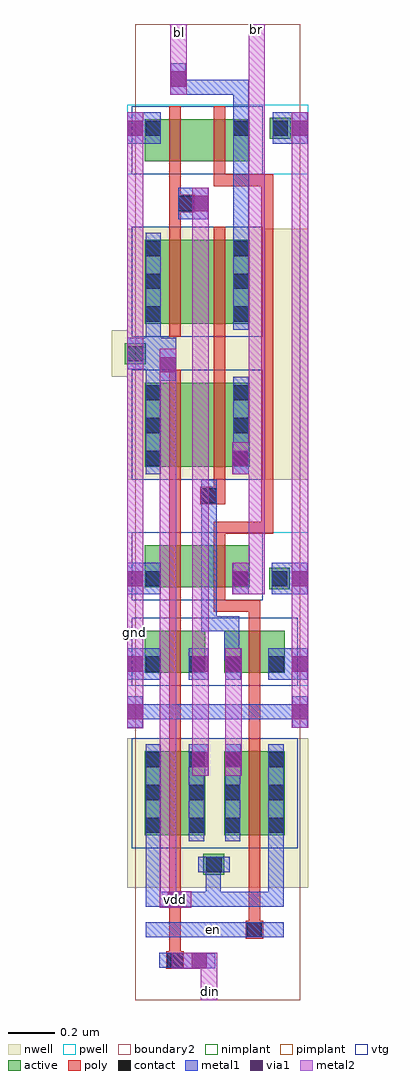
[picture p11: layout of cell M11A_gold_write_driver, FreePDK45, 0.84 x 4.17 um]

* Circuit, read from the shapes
.subckt M11A_gold_write_driver bl br din en gnd vdd
M1 n1 din gnd gnd nfet w=0.18u l=0.05u
M2 n2 din gnd gnd nfet w=0.18u l=0.05u
M3 n3 n1 gnd gnd nfet w=0.18u l=0.05u
M4 br en n2 gnd nfet w=0.18u l=0.05u
M5 bl en n3 gnd nfet w=0.18u l=0.05u
M6 gnd en n4 gnd nfet w=0.18u l=0.05u
M7 n1 din vdd vdd pfet w=0.36u l=0.05u
M8 n5 din vdd vdd pfet w=0.36u l=0.05u
M9 n6 n1 vdd vdd pfet w=0.36u l=0.05u
M10 br n4 n5 vdd pfet w=0.36u l=0.05u
M11 bl n4 n6 vdd pfet w=0.36u l=0.05u
M12 vdd en n4 vdd pfet w=0.36u l=0.05u
.ends

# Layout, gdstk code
import gdstk
lib = gdstk.Library(unit=1e-6, precision=1e-09)
def R(c, l, rs):  # rectangles x0, y0, x1, y1
    for r in rs: c.add(gdstk.rectangle(r[:2], r[2:], *l))
def A(c, l, x, y, w, h, nx, ny, dx, dy):  # array of equal rectangles
    R(c, l, [(x+i*dx, y+j*dy, x+i*dx+w, y+j*dy+h) for i in range(nx) for j in range(ny)])
active = (1, 0)
pwell = (2, 0)
nwell = (3, 0)
nimplant = (4, 0)
pimplant = (5, 0)
vtg = (6, 0)
poly = (9, 0)
contact = (10, 0)
metal1 = (11, 0)
via1 = (12, 0)
metal2 = (13, 0)
boundary2 = (239, 0)

m11a_gold_write_driver = lib.new_cell('M11A_gold_write_driver')
R(m11a_gold_write_driver, active, [(0.292,0.535,0.382,0.625), (0.04,0.705,0.115,1.065), (0.04,0.705,0.115,1.065), (0.04,0.705,0.3,1.065), (0.225,0.705,0.3,1.065), (0.225,0.705,0.3,1.065), (0.38,0.705,0.455,1.065), (0.38,0.705,0.455,1.065), (0.38,0.705,0.64,1.065), (0.565,0.705,0.64,1.065), (0.565,0.705,0.64,1.065), (0.04,0.71,0.115,1.065), (0.225,0.71,0.3,1.065), (0.38,0.71,0.455,1.065), (0.565,0.71,0.64,1.065), (0.04,1.4,0.115,1.58), (0.04,1.4,0.115,1.58), (0.04,1.4,0.3,1.58), (0.04,1.4,0.115,1.475), (0.225,1.4,0.3,1.58), (0.225,1.4,0.3,1.58), (0.225,1.4,0.3,1.475), (0.38,1.4,0.455,1.58), (0.38,1.4,0.455,1.58), (0.38,1.4,0.64,1.58), (0.38,1.4,0.455,1.475), (0.565,1.4,0.64,1.58), (0.565,1.4,0.64,1.58), (0.565,1.4,0.64,1.475), (0.573,1.757,0.662,1.848), (0.04,1.765,0.115,1.945), (0.04,1.765,0.115,1.945), (0.04,1.765,0.115,1.84), (0.04,1.765,0.49,1.945), (0.198,1.765,0.338,1.945), (0.415,1.765,0.49,1.945), (0.415,1.765,0.49,1.945), (0.415,1.765,0.49,1.84), (0.04,2.28,0.115,2.64), (0.04,2.28,0.115,2.64), (0.04,2.28,0.115,2.635), (0.04,2.28,0.49,2.64), (0.198,2.28,0.338,2.64), (0.415,2.28,0.49,2.64), (0.415,2.28,0.49,2.64), (0.415,2.28,0.49,2.635), (-0.045,2.72,0.045,2.81), (0.04,2.892,0.115,3.252), (0.04,2.892,0.115,3.252), (0.04,2.892,0.49,3.252), (0.192,2.892,0.333,3.252), (0.415,2.892,0.49,3.252), (0.415,2.892,0.49,3.252), (0.04,2.897,0.115,3.252), (0.415,2.897,0.49,3.252), (0.04,3.587,0.115,3.767), (0.04,3.587,0.115,3.767), (0.04,3.587,0.49,3.767), (0.192,3.587,0.333,3.767), (0.415,3.587,0.49,3.767), (0.415,3.587,0.49,3.767), (0.575,3.685,0.665,3.775), (0.04,3.692,0.115,3.767), (0.415,3.692,0.49,3.767)])
R(m11a_gold_write_driver, pwell, [(-0.035,1.345,0.74,2), (-0.015,1.345,0.355,1.635), (0.325,1.345,0.695,1.635), (0.517,1.703,0.718,1.902), (-0.015,1.71,0.545,2), (-0.035,3.533,0.74,3.83), (-0.015,3.533,0.545,3.823), (0.52,3.63,0.72,3.83)])
R(m11a_gold_write_driver, nwell, [(-0.035,0.48,0.74,1.12), (0.238,0.48,0.437,0.68), (-0.015,0.65,0.355,1.12), (0.325,0.65,0.695,1.12), (-0.035,2.225,0.74,3.3), (-0.015,2.225,0.545,2.695), (-0.1,2.665,0.1,2.865), (-0.015,2.837,0.545,3.307)])
R(m11a_gold_write_driver, nimplant, [(0.292,0.535,0.382,0.625), (0.04,1.4,0.3,1.58), (0.38,1.4,0.64,1.58), (0.04,1.765,0.49,1.945), (-0.045,2.72,0.045,2.81), (0.04,3.587,0.49,3.767)])
R(m11a_gold_write_driver, pimplant, [(0.04,0.705,0.3,1.065), (0.38,0.705,0.64,1.065), (0.573,1.757,0.662,1.848), (0.04,2.28,0.49,2.64), (0.04,2.892,0.49,3.252), (0.575,3.685,0.665,3.775)])
R(m11a_gold_write_driver, vtg, [(-0.015,0.65,0.355,1.12), (0.325,0.65,0.695,1.12), (-0.015,1.345,0.355,1.635), (0.325,1.345,0.695,1.635), (-0.015,1.71,0.545,2), (-0.015,2.225,0.545,2.695), (-0.015,2.837,0.545,3.307), (-0.015,3.533,0.545,3.823)])
R(m11a_gold_write_driver, poly, [(0.133,0.133,0.208,0.208), (0.145,0.138,0.195,0.65), (0.473,0.263,0.547,0.338), (0.485,0.268,0.535,0.65), (0.145,0.65,0.195,0.705), (0.145,0.65,0.195,1.12), (0.485,0.65,0.535,0.705), (0.485,0.65,0.535,1.12), (0.145,1.065,0.195,1.12), (0.485,1.065,0.535,1.12), (0.145,1.12,0.195,1.345), (0.485,1.12,0.535,1.345), (0.145,1.345,0.195,1.635), (0.145,1.345,0.195,1.4), (0.485,1.345,0.535,1.635), (0.485,1.345,0.535,1.4), (0.145,1.58,0.195,1.635), (0.485,1.58,0.535,1.635), (0.145,1.635,0.195,1.71), (0.485,1.635,0.535,1.66), (0.335,1.66,0.535,1.71), (0.145,1.71,0.195,2), (0.145,1.71,0.195,1.765), (0.335,1.71,0.385,2), (0.335,1.71,0.385,1.765), (0.145,1.945,0.195,2), (0.335,1.945,0.385,2), (0.335,1.995,0.59,2.045), (0.54,1.995,0.59,3.482), (0.145,2,0.195,2.225), (0.278,2.12,0.352,2.195), (0.335,2.12,0.385,2.225), (0.145,2.225,0.195,2.28), (0.145,2.225,0.195,2.695), (0.335,2.225,0.385,2.28), (0.335,2.225,0.385,2.695), (0.145,2.64,0.195,2.695), (0.335,2.64,0.385,2.695), (0.335,2.695,0.385,2.837), (0.145,2.837,0.195,2.892), (0.145,2.837,0.195,3.307), (0.335,2.837,0.385,2.892), (0.335,2.837,0.385,3.307), (0.145,3.252,0.195,3.307), (0.335,3.252,0.385,3.307), (0.145,3.307,0.195,3.533), (0.18,3.37,0.255,3.445), (0.335,3.482,0.59,3.533), (0.145,3.533,0.195,3.823), (0.145,3.533,0.195,3.587), (0.335,3.533,0.385,3.823), (0.335,3.533,0.385,3.587), (0.145,3.767,0.195,3.823), (0.335,3.767,0.385,3.823)])
A(m11a_gold_write_driver, contact, 0.045, 0.715, 0.065, 0.065, 1, 3, 0, 0.14)
A(m11a_gold_write_driver, contact, 0.23, 0.715, 0.065, 0.065, 1, 3, 0, 0.14)
A(m11a_gold_write_driver, contact, 0.385, 0.715, 0.065, 0.065, 1, 3, 0, 0.14)
A(m11a_gold_write_driver, contact, 0.57, 0.715, 0.065, 0.065, 1, 3, 0, 0.14)
A(m11a_gold_write_driver, contact, 0.045, 2.285, 0.065, 0.065, 1, 3, 0, 0.14)
A(m11a_gold_write_driver, contact, 0.42, 2.285, 0.065, 0.065, 1, 3, 0, 0.14)
R(m11a_gold_write_driver, contact, [(0.138,0.138,0.203,0.203), (0.478,0.268,0.542,0.333), (0.305,0.547,0.37,0.613), (0.045,1.405,0.11,1.47), (0.23,1.405,0.295,1.47), (0.385,1.405,0.45,1.47), (0.57,1.405,0.635,1.47), (0.045,1.77,0.11,1.835), (0.42,1.77,0.485,1.835), (0.585,1.77,0.65,1.835), (0.283,2.125,0.348,2.19), (-0.033,2.732,0.033,2.797), (0.045,2.902,0.11,2.968), (0.42,2.902,0.485,2.968), (0.045,3.042,0.11,3.107), (0.42,3.042,0.485,3.107), (0.045,3.182,0.11,3.247), (0.42,3.182,0.485,3.247), (0.185,3.375,0.25,3.44), (0.045,3.698,0.11,3.762), (0.42,3.698,0.485,3.762), (0.588,3.698,0.652,3.762)])
R(m11a_gold_write_driver, metal1, [(0.208,0.135,0.343,0.2), (0.103,0.138,0.238,0.203), (0.045,0.268,0.635,0.333), (0.045,0.398,0.635,0.462), (0.105,0.398,0.24,0.462), (0.045,0.462,0.11,0.68), (0.302,0.462,0.367,0.613), (0.57,0.462,0.635,0.68), (0.27,0.547,0.405,0.613), (0.045,0.68,0.11,1.095), (0.23,0.68,0.295,1.095), (0.385,0.68,0.45,1.095), (0.57,0.68,0.635,1.095), (0.247,0.96,0.312,1.095), (0.387,0.96,0.452,1.095), (-0.033,1.165,0.033,1.3), (0.672,1.165,0.738,1.3), (-0.035,1.2,0.74,1.265), (-0.033,1.37,0.033,1.505), (0.027,1.37,0.04,1.505), (0.035,1.37,0.045,1.505), (0.045,1.37,0.11,1.505), (0.23,1.37,0.295,1.505), (0.247,1.37,0.312,1.505), (0.385,1.37,0.45,1.505), (0.387,1.37,0.452,1.505), (0.57,1.37,0.635,1.505), (0.63,1.37,0.672,1.505), (0.672,1.37,0.738,1.505), (0.38,1.453,0.445,1.578), (0.283,1.578,0.348,2.175), (0.283,1.578,0.445,1.642), (-0.033,1.735,0.033,1.87), (0.027,1.735,0.04,1.87), (0.035,1.735,0.045,1.87), (0.045,1.735,0.11,1.87), (0.417,1.735,0.482,1.87), (0.42,1.735,0.485,1.87), (0.585,1.735,0.65,1.87), (0.65,1.735,0.672,1.87), (0.672,1.735,0.738,1.87), (0.283,2.09,0.348,2.225), (0.045,2.25,0.11,2.665), (0.417,2.25,0.482,2.385), (0.42,2.25,0.485,2.665), (0.095,2.65,0.11,2.785), (0.107,2.65,0.173,2.785), (0.045,2.665,0.11,2.868), (-0.033,2.698,0.033,2.832), (0.033,2.698,0.175,2.832), (0.045,2.868,0.11,3.283), (0.42,2.868,0.485,3.283), (0.42,3.283,0.485,3.662), (0.185,3.34,0.25,3.475), (0.247,3.34,0.312,3.475), (-0.033,3.662,0.033,3.797), (0.027,3.662,0.04,3.797), (0.035,3.662,0.045,3.797), (0.045,3.662,0.11,3.797), (0.42,3.662,0.485,3.797), (0.588,3.662,0.652,3.797), (0.652,3.662,0.672,3.797), (0.672,3.662,0.738,3.797), (0.42,3.797,0.485,3.872), (0.15,3.872,0.485,3.937), (0.152,3.872,0.217,4.008)])
R(m11a_gold_write_driver, via1, [(0.242,0.135,0.307,0.2), (0.14,0.398,0.205,0.462), (0.247,0.995,0.312,1.06), (0.387,0.995,0.452,1.06), (-0.033,1.2,0.033,1.265), (0.672,1.2,0.738,1.265), (-0.033,1.405,0.033,1.47), (0.247,1.405,0.312,1.47), (0.387,1.405,0.452,1.47), (0.672,1.405,0.738,1.47), (-0.033,1.77,0.033,1.835), (0.417,1.77,0.482,1.835), (0.672,1.77,0.738,1.835), (0.417,2.285,0.482,2.35), (0.107,2.685,0.173,2.75), (0.247,3.375,0.312,3.44), (-0.033,3.698,0.033,3.762), (0.672,3.698,0.738,3.762), (0.152,3.907,0.217,3.972)])
R(m11a_gold_write_driver, metal2, [(0.28,0,0.35,0.14), (0.157,0.133,0.35,0.203), (0.208,0.133,0.343,0.203), (0.105,0.395,0.24,0.465), (0.105,0.465,0.175,2.785), (0.245,0.96,0.315,1.095), (0.385,0.96,0.455,1.095), (0.245,1.095,0.315,1.37), (0.385,1.095,0.455,1.37), (-0.035,1.163,0.035,3.797), (-0.035,1.165,0.035,1.3), (0.67,1.165,0.74,3.797), (0.67,1.165,0.74,1.3), (-0.035,1.37,0.035,1.505), (0.245,1.37,0.315,3.468), (0.245,1.37,0.315,1.505), (0.385,1.37,0.455,1.505), (0.67,1.37,0.74,1.505), (-0.035,1.735,0.035,1.87), (0.415,1.735,0.485,1.87), (0.485,1.735,0.555,4.175), (0.67,1.735,0.74,1.87), (0.415,2.25,0.485,2.385), (0.105,2.65,0.175,2.785), (0.245,3.34,0.315,3.475), (-0.035,3.662,0.035,3.797), (0.67,3.662,0.74,3.797), (0.15,3.872,0.22,4.008), (0.15,3.875,0.22,4.175)])
R(m11a_gold_write_driver, boundary2, [(0,0,0.705,4.175)])
m11a_gold_write_driver.add(gdstk.Label('en', (0.333,0.3), layer=11, texttype=0))
m11a_gold_write_driver.add(gdstk.Label('din', (0.32,0.035), layer=13, texttype=0))
m11a_gold_write_driver.add(gdstk.Label('vdd', (0.173,0.432), layer=13, texttype=0))
m11a_gold_write_driver.add(gdstk.Label('br', (0.52,4.15), layer=13, texttype=0))
m11a_gold_write_driver.add(gdstk.Label('bl', (0.19,4.138), layer=13, texttype=0))
m11a_gold_write_driver.add(gdstk.Label('gnd', (-0.005,1.57), layer=13, texttype=0))

lib.write_gds('M11A_gold_write_driver.gds')
